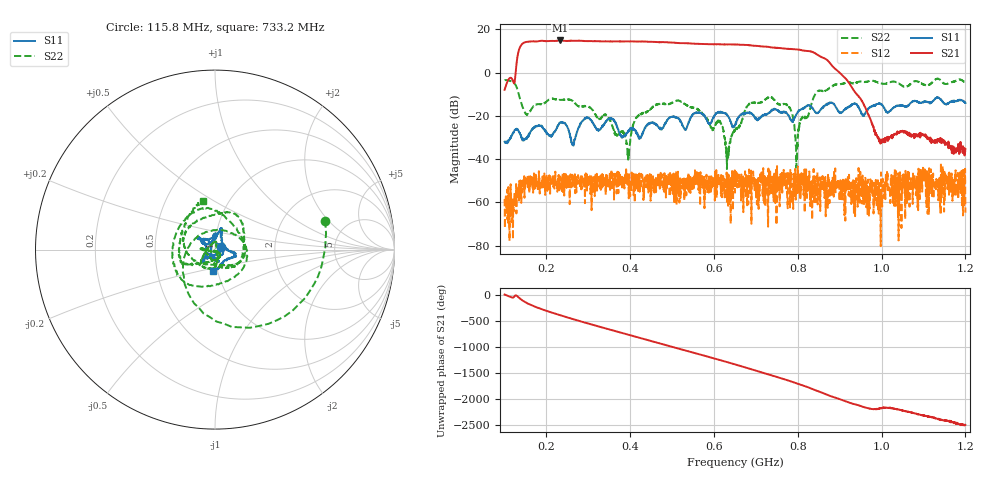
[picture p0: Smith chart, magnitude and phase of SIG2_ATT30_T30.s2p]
# Hz S DB R 50
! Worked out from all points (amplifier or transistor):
!   1601 points, 100 MHz to 1.2 GHz, reference 50 ohm
!   highest |S21| = 14.9 dB at 232 MHz (marker M1)
!   |S21| within 3 dB of that: 136.9 MHz to 730.5 MHz (593.6 MHz wide, 137 % of centre)
!   unconditionally stable (mu >= 1): start of sweep to end of sweep
!   at 282.9 MHz: K = 44.23, MAG = 14.9 dB, |S12| = -54.0 dB
!   at 650 MHz: K = 66.22, MAG = 13.1 dB, |S12| = -55.5 dB
!   at 1.2 GHz: K = 32095.45, MAG = -33.3 dB, |S12| = -64.8 dB
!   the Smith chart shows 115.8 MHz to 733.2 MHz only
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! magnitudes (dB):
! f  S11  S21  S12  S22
! 100 MHz  -31.9  -7.9  -58.5  -3.5
! 116.5 MHz  -29.4  -2.5  -66.3  -4.0
! 144 MHz  -30.8  13.7  -52.5  -16.4
! 232 MHz  -23.1  14.9  -50.0  -12.6
! 263.6 MHz  -32.5  14.8  -50.5  -13.3
! 283.6 MHz  -22.9  14.7  -49.4  -15.7
! 344.8 MHz  -22.0  14.5  -47.6  -20.0
! 394.2 MHz  -27.3  14.5  -47.3  -37.8
! 414.9 MHz  -28.2  14.4  -51.6  -20.7
! 467.1 MHz  -25.2  14.2  -46.2  -14.4
! 612.9 MHz  -18.3  13.2  -48.5  -22.2
! 632.1 MHz  -19.9  13.1  -49.8  -40.1
! 650 MHz  -24.4  13.0  -55.5  -26.0
! 683 MHz  -18.6  12.7  -51.3  -14.8
! 734.6 MHz  -18.3  11.8  -49.4  -11.3
! 779.9 MHz  -20.8  10.9  -49.6  -15.9
! 797.8 MHz  -18.9  10.8  -56.7  -41.0
! 833.6 MHz  -16.0  9.7  -56.7  -13.8
! 993.1 MHz  -14.4  -31.1  -65.2  -4.7
! 1.017 GHz  -18.0  -29.9  -54.5  -4.6
! 1.157 GHz  -14.5  -33.3  -53.9  -5.0
! 1.2 GHz  -14.0  -35.3  -64.8  -4.7
